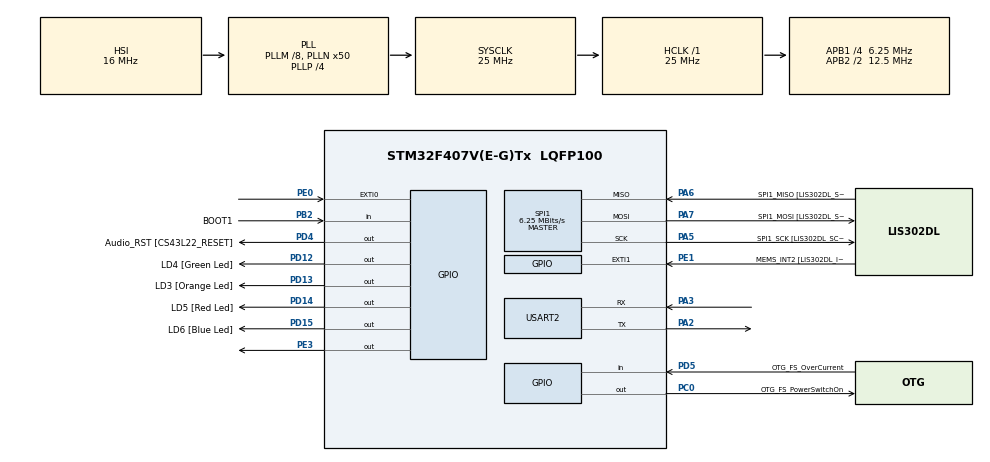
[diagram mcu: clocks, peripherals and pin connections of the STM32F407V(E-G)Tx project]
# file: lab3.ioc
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Mcu.Family=STM32F4
Mcu.Name=STM32F407V(E-G)Tx
Mcu.Package=LQFP100
NVIC.EXTI0_IRQn=true\:15\:0\:true\:false\:true\:true\:true\:true
NVIC.PriorityGroup=NVIC_PRIORITYGROUP_4
NVIC.TIM7_IRQn=true\:0\:0\:false\:false\:true\:false\:true\:true
NVIC.TimeBase=TIM7_IRQn
NVIC.TimeBaseIP=TIM7
PA10.GPIO_Label=OTG_FS_ID
PA10.GPIO_Mode=GPIO_MODE_AF_PP
PA10.GPIO_PuPd=GPIO_NOPULL
PA10.GPIO_Speed=GPIO_SPEED_FREQ_LOW
PA10.Signal=USB_OTG_FS_ID
PA11.GPIO_Label=OTG_FS_DM
PA11.GPIO_Mode=GPIO_MODE_AF_PP
PA11.GPIO_PuPd=GPIO_NOPULL
PA11.GPIO_Speed=GPIO_SPEED_FREQ_LOW
PA11.Signal=USB_OTG_FS_DM
PA12.GPIO_Label=OTG_FS_DP
PA12.GPIO_Mode=GPIO_MODE_AF_PP
PA12.GPIO_PuPd=GPIO_NOPULL
PA12.GPIO_Speed=GPIO_SPEED_FREQ_LOW
PA12.Signal=USB_OTG_FS_DP
PA13.GPIO_Label=SWDIO
PA13.Mode=Serial_Wire
PA13.Signal=SYS_JTMS-SWDIO
PA14.GPIO_Label=SWCLK
PA14.Mode=Serial_Wire
PA14.Signal=SYS_JTCK-SWCLK
PA2.Mode=Asynchronous
PA2.Signal=USART2_TX
PA3.Mode=Asynchronous
PA3.Signal=USART2_RX
PA4.GPIO_Label=I2S3_WS [CS43L22_LRCK]
PA4.GPIO_Mode=GPIO_MODE_AF_PP
PA4.GPIO_PuPd=GPIO_NOPULL
PA4.GPIO_Speed=GPIO_SPEED_FREQ_LOW
PA4.Signal=I2S3_WS
PA5.GPIO_Label=SPI1_SCK [LIS302DL_SCL/SPC]
PA5.GPIO_Mode=GPIO_MODE_AF_PP
PA5.GPIO_PuPd=GPIO_NOPULL
PA5.GPIO_Speed=GPIO_SPEED_FREQ_LOW
PA5.Mode=Full_Duplex_Master
PA5.Signal=SPI1_SCK
PA6.GPIO_Label=SPI1_MISO [LIS302DL_SDO]
PA6.GPIO_Mode=GPIO_MODE_AF_PP
PA6.GPIO_PuPd=GPIO_NOPULL
PA6.GPIO_Speed=GPIO_SPEED_FREQ_LOW
PA6.Mode=Full_Duplex_Master
PA6.Signal=SPI1_MISO
PA7.GPIO_Label=SPI1_MOSI [LIS302DL_SDA/SDI/SDO]
PA7.GPIO_Mode=GPIO_MODE_AF_PP
PA7.GPIO_PuPd=GPIO_NOPULL
PA7.GPIO_Speed=GPIO_SPEED_FREQ_LOW
PA7.Mode=Full_Duplex_Master
PA7.Signal=SPI1_MOSI
PA9.GPIO_Label=VBUS_FS
PA9.GPIO_Mode=GPIO_MODE_INPUT
PA9.GPIO_PuPd=GPIO_NOPULL
PA9.Signal=USB_OTG_FS_VBUS
PB10.GPIO_Label=CLK_IN [MP45DT02_CLK]
PB10.GPIO_Mode=GPIO_MODE_AF_PP
PB10.GPIO_PuPd=GPIO_NOPULL
PB10.GPIO_Speed=GPIO_SPEED_FREQ_LOW
PB10.Signal=I2S2_CK
PB2.GPIO_Label=BOOT1
PB2.GPIO_Mode=GPIO_MODE_INPUT
PB2.GPIO_PuPd=GPIO_NOPULL
PB2.Signal=GPIO_Input
PB3.GPIO_Label=SWO
PB3.Signal=SYS_JTDO-SWO
PB6.GPIO_Label=Audio_SCL [CS43L22_SCL]
PB6.GPIO_Mode=GPIO_MODE_AF_OD
PB6.GPIO_PuPd=GPIO_NOPULL
PB6.GPIO_Speed=GPIO_SPEED_FREQ_LOW
PB6.Signal=I2C1_SCL
PB9.GPIO_Label=Audio_SDA [CS43L22_SDA]
PB9.GPIO_Mode=GPIO_MODE_AF_OD
PB9.GPIO_PuPd=GPIO_NOPULL
PB9.GPIO_Speed=GPIO_SPEED_FREQ_LOW
PB9.Signal=I2C1_SDA
PC0.GPIO_Label=OTG_FS_PowerSwitchOn
PC0.GPIO_PuPd=GPIO_NOPULL
PC0.GPIO_Speed=GPIO_SPEED_FREQ_LOW
PC0.PinState=GPIO_PIN_SET
PC0.Signal=GPIO_Output
PC10.GPIO_Label=I2S3_SCK [CS43L22_SCLK]
PC10.GPIO_Mode=GPIO_MODE_AF_PP
PC10.GPIO_PuPd=GPIO_NOPULL
PC10.GPIO_Speed=GPIO_SPEED_FREQ_LOW
PC10.Signal=I2S3_CK
PC12.GPIO_Label=I2S3_SD [CS43L22_SDIN]
PC12.GPIO_Mode=GPIO_MODE_AF_PP
PC12.GPIO_PuPd=GPIO_NOPULL
PC12.GPIO_Speed=GPIO_SPEED_FREQ_LOW
PC12.Signal=I2S3_SD
PC14-OSC32_IN.GPIO_Label=PC14-OSC32_IN
PC14-OSC32_IN.Signal=RCC_OSC32_IN
PC15-OSC32_OUT.GPIO_Label=PC15-OSC32_OUT
PC15-OSC32_OUT.Signal=RCC_OSC32_OUT
PC3.GPIO_Label=PDM_OUT [MP45DT02_DOUT]
PC3.GPIO_Mode=GPIO_MODE_AF_PP
PC3.GPIO_PuPd=GPIO_NOPULL
PC3.GPIO_Speed=GPIO_SPEED_FREQ_LOW
PC3.Signal=I2S2_SD
PC7.GPIO_Label=I2S3_MCK [CS43L22_MCLK]
PC7.GPIO_Mode=GPIO_MODE_AF_PP
PC7.GPIO_PuPd=GPIO_NOPULL
PC7.GPIO_Speed=GPIO_SPEED_FREQ_LOW
PC7.Signal=I2S3_MCK
PD12.GPIO_Label=LD4 [Green Led]
PD12.GPIO_PuPd=GPIO_NOPULL
PD12.GPIO_Speed=GPIO_SPEED_FREQ_LOW
PD12.Signal=GPIO_Output
PD13.GPIO_Label=LD3 [Orange Led]
PD13.GPIO_PuPd=GPIO_NOPULL
PD13.GPIO_Speed=GPIO_SPEED_FREQ_LOW
PD13.Signal=GPIO_Output
PD14.GPIO_Label=LD5 [Red Led]
PD14.GPIO_PuPd=GPIO_NOPULL
PD14.GPIO_Speed=GPIO_SPEED_FREQ_LOW
PD14.Signal=GPIO_Output
PD15.GPIO_Label=LD6 [Blue Led]
PD15.GPIO_PuPd=GPIO_NOPULL
PD15.GPIO_Speed=GPIO_SPEED_FREQ_LOW
PD15.Signal=GPIO_Output
PD4.GPIO_Label=Audio_RST [CS43L22_RESET]
PD4.GPIO_PuPd=GPIO_NOPULL
PD4.GPIO_Speed=GPIO_SPEED_FREQ_LOW
PD4.Signal=GPIO_Output
PD5.GPIO_Label=OTG_FS_OverCurrent
PD5.GPIO_Mode=GPIO_MODE_INPUT
PD5.GPIO_PuPd=GPIO_NOPULL
PD5.Signal=GPIO_Input
PE0.Signal=GPXTI0
PE1.GPIO_Label=MEMS_INT2 [LIS302DL_INT2]
PE1.GPIO_ModeDefaultEXTI=GPIO_MODE_EVT_RISING
PE1.GPIO_PuPd=GPIO_NOPULL
PE1.Signal=GPXTI1
PE3.Signal=GPIO_Output
PH0-OSC_IN.GPIO_Label=PH0-OSC_IN
PH0-OSC_IN.Signal=RCC_OSC_IN
PH1-OSC_OUT.GPIO_Label=PH1-OSC_OUT
PH1-OSC_OUT.Signal=RCC_OSC_OUT
ProjectManager.HeapSize=0x200
ProjectManager.StackSize=0x400
ProjectManager.TargetToolchain=STM32CubeIDE
RCC.48MHZClocksFreq_Value=14285714.285714285
RCC.AHBFreq_Value=25000000
RCC.APB1CLKDivider=RCC_HCLK_DIV4
RCC.APB1Freq_Value=6250000
RCC.APB1TimFreq_Value=12500000
RCC.APB2CLKDivider=RCC_HCLK_DIV2
RCC.APB2Freq_Value=12500000
RCC.APB2TimFreq_Value=25000000
RCC.CortexFreq_Value=25000000
RCC.HCLKFreq_Value=25000000
RCC.HSE_VALUE=8000000
RCC.HSI_VALUE=16000000
RCC.LSE_VALUE=32768
RCC.PLLM=8
RCC.PLLN=50
RCC.PLLP=RCC_PLLP_DIV4
RCC.PLLQ=7
RCC.SYSCLKFreq_VALUE=25000000
RCC.SYSCLKSource=RCC_SYSCLKSOURCE_PLLCLK
RCC.VCOOutputFreq_Value=100000000
SPI1.CalculateBaudRate=6.25 MBits/s
SPI1.Direction=SPI_DIRECTION_2LINES
SPI1.Mode=SPI_MODE_MASTER
SPI1.VirtualType=VM_MASTER
USART2.VirtualMode=VM_ASYNC
VP_SYS_VS_tim7.Mode=TIM7
board=STM32F407G-DISC1

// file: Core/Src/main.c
/* USER CODE BEGIN Header */
/**
  ******************************************************************************
  * @file           : main.c
  * @brief          : Main program body
  ******************************************************************************
  * @attention
  *
  * <h2><center>&copy; Copyright (c) 2021 STMicroelectronics.
  * All rights reserved.</center></h2>
  *
  * This software component is licensed by ST under BSD 3-Clause license,
  * the "License"; You may not use this file except in compliance with the
  * License. You may obtain a copy of the License at:
  *                        opensource.org/licenses/BSD-3-Clause
  *
  ******************************************************************************
  */
/* USER CODE END Header */
#include "main.h"

/* USER CODE BEGIN Includes */
#include "FreeRTOS.h"
#include "task.h"
#include "semphr.h"

/* USER CODE END Includes */

/* USER CODE BEGIN PM */
#define LIS3DSH_WHO_AM_I_ADDR                0x0F
#define LIS3DSH_STAT_ADDR                    0x18
#define LIS3DSH_CTRL_REG4_ADDR               0x20
#define LIS3DSH_CTRL_REG1_ADDR               0x21
#define LIS3DSH_CTRL_REG2_ADDR               0x22
#define LIS3DSH_CTRL_REG3_ADDR               0x23
#define LIS3DSH_CTRL_REG5_ADDR               0x24
#define LIS3DSH_CTRL_REG6_ADDR               0x25

#define LIS3DSH_STATUS_ADDR                  0x27

#define LIS3DSH_OUT_X_L_ADDR                 0x28
#define LIS3DSH_OUT_X_H_ADDR                 0x29
#define LIS3DSH_OUT_Y_L_ADDR                 0x2A
#define LIS3DSH_OUT_Y_H_ADDR                 0x2B
#define LIS3DSH_OUT_Z_L_ADDR                 0x2C
#define LIS3DSH_OUT_Z_H_ADDR                 0x2D

#define LIS3DSH_ST1_1_ADDR                   0x40
#define LIS3DSH_ST1_2_ADDR                   0x41
#define LIS3DSH_THRS1_1_ADDR                 0x57
#define LIS3DSH_MASK1_B_ADDR                 0x59
#define LIS3DSH_MASK1_A_ADDR                 0x5A
#define LIS3DSH_SETT1_ADDR                   0x5B
#define LIS3DSH_OUTS1_ADDR                   0x5F

#define LONG_TIME 							 0xffff

#define WAKEUP_STATE_MACHINE_CONFIG	\
	MEMS_Write(0x21,0x01);			\
	MEMS_Write(0x23,0x48);			\
	MEMS_Write(0x20,0x67);			\
	MEMS_Write(0x24,0x00);			\
	MEMS_Write(0x57,0x55);			\
	MEMS_Write(0x40,0x05);			\
	MEMS_Write(0x41,0x11);			\

/* USER CODE END PM */

SPI_HandleTypeDef hspi1;

UART_HandleTypeDef huart2;

/* USER CODE BEGIN PV */
SemaphoreHandle_t xSemaphore = NULL;
uint8_t data;
/* USER CODE END PV */

void SystemClock_Config(void);
static void MX_GPIO_Init(void);
static void MX_SPI1_Init(void);
static void MX_USART2_UART_Init(void);

/* USER CODE BEGIN 0 */
void MEMS_Write(uint8_t address,uint8_t data){
	HAL_GPIO_WritePin(GPIOE, GPIO_PIN_3, GPIO_PIN_RESET);
	HAL_SPI_Transmit(&hspi1,&address,1,10);
	HAL_SPI_Transmit(&hspi1,&data,1,10);
	HAL_GPIO_WritePin(GPIOE, GPIO_PIN_3,GPIO_PIN_SET);
}
void MEMS_Read(uint8_t address,uint8_t *data){
    address |= 0x80;
	HAL_GPIO_WritePin(GPIOE,GPIO_PIN_3,GPIO_PIN_RESET);
	HAL_SPI_Transmit(&hspi1,&address,1,10);
	HAL_SPI_Receive(&hspi1,data,1,10);
	HAL_GPIO_WritePin(GPIOE,GPIO_PIN_3,GPIO_PIN_SET);
}
void Green_LED_Task(void *pvParameters)
{
	for(;;)
	{
		// Green LED blinks
		HAL_GPIO_TogglePin(GPIOD, GPIO_PIN_12);
		uint32_t beginTime = HAL_GetTick();
		while (HAL_GetTick() - beginTime < 500/portTICK_RATE_MS) {
		}
	}
}
void vHandlerTask( void *pvParameters )
{
	for(;;)
	{
		/* Take the semaphore */
		if(xSemaphoreTake(xSemaphore, LONG_TIME) == pdTRUE) {
			// semaphore was obtained
                // Orange LED blinks 5 times
				for (int i = 0; i < 10; ++i) {
					HAL_GPIO_TogglePin(GPIOD, GPIO_PIN_13);
					uint32_t beginTime = HAL_GetTick();
					while (HAL_GetTick() - beginTime < 500/portTICK_RATE_MS) {
					}
				}
			// reset interrupt register
			MEMS_Read(LIS3DSH_OUTS1_ADDR, &data);
//			WAKEUP_STATE_MACHINE_CONFIG
		}
	}
}
void HAL_GPIO_EXTI_Callback(uint16_t GPIO_Pin)
{
	/* toggle Red LED */
	HAL_GPIO_TogglePin(GPIOD, GPIO_PIN_14);

	/* Give the semaphore to unblock the handler task */
	BaseType_t xHigherPriorityTaskWoken = pdFALSE;
	xSemaphoreGiveFromISR( xSemaphore, &xHigherPriorityTaskWoken );
	portYIELD_FROM_ISR( xHigherPriorityTaskWoken );
}

/* USER CODE END 0 */

int main(void)
{

  /* MCU Configuration--------------------------------------------------------*/

  /* Reset of all peripherals, Initializes the Flash interface and the Systick. */
  HAL_Init();

  /* Configure the system clock */
  SystemClock_Config();

  /* Initialize all configured peripherals */
  MX_GPIO_Init();
  MX_SPI1_Init();
  MX_USART2_UART_Init();
  /* USER CODE BEGIN 2 */
  xSemaphore = xSemaphoreCreateBinary();
  WAKEUP_STATE_MACHINE_CONFIG

  xTaskCreate(Green_LED_Task, "Green LED", 1000, NULL, 1, NULL);
  xTaskCreate(vHandlerTask, "Handler Task", 1000, NULL, 4, NULL);

  vTaskStartScheduler();
  /* USER CODE END 2 */

  /* Infinite loop */
  while (1)
  {

  }
}

void SystemClock_Config(void)
{
  RCC_OscInitTypeDef RCC_OscInitStruct = {0};
  RCC_ClkInitTypeDef RCC_ClkInitStruct = {0};

  /** Configure the main internal regulator output voltage
  */
  __HAL_RCC_PWR_CLK_ENABLE();
  __HAL_PWR_VOLTAGESCALING_CONFIG(PWR_REGULATOR_VOLTAGE_SCALE1);

  /** Initializes the RCC Oscillators according to the specified parameters
  * in the RCC_OscInitTypeDef structure.
  */
  RCC_OscInitStruct.OscillatorType = RCC_OSCILLATORTYPE_HSI;
  RCC_OscInitStruct.HSIState = RCC_HSI_ON;
  RCC_OscInitStruct.HSICalibrationValue = RCC_HSICALIBRATION_DEFAULT;
  RCC_OscInitStruct.PLL.PLLState = RCC_PLL_ON;
  RCC_OscInitStruct.PLL.PLLSource = RCC_PLLSOURCE_HSI;
  RCC_OscInitStruct.PLL.PLLM = 8;
  RCC_OscInitStruct.PLL.PLLN = 50;
  RCC_OscInitStruct.PLL.PLLP = RCC_PLLP_DIV4;
  RCC_OscInitStruct.PLL.PLLQ = 7;
  if (HAL_RCC_OscConfig(&RCC_OscInitStruct) != HAL_OK)
  {
    Error_Handler();
  }

  /** Initializes the CPU, AHB and APB buses clocks
  */
  RCC_ClkInitStruct.ClockType = RCC_CLOCKTYPE_HCLK|RCC_CLOCKTYPE_SYSCLK
                              |RCC_CLOCKTYPE_PCLK1|RCC_CLOCKTYPE_PCLK2;
  RCC_ClkInitStruct.SYSCLKSource = RCC_SYSCLKSOURCE_PLLCLK;
  RCC_ClkInitStruct.AHBCLKDivider = RCC_SYSCLK_DIV1;
  RCC_ClkInitStruct.APB1CLKDivider = RCC_HCLK_DIV4;
  RCC_ClkInitStruct.APB2CLKDivider = RCC_HCLK_DIV2;

  if (HAL_RCC_ClockConfig(&RCC_ClkInitStruct, FLASH_LATENCY_0) != HAL_OK)
  {
    Error_Handler();
  }
}

static void MX_SPI1_Init(void)
{

  /* SPI1 parameter configuration*/
  hspi1.Instance = SPI1;
  hspi1.Init.Mode = SPI_MODE_MASTER;
  hspi1.Init.Direction = SPI_DIRECTION_2LINES;
  hspi1.Init.DataSize = SPI_DATASIZE_8BIT;
  hspi1.Init.CLKPolarity = SPI_POLARITY_LOW;
  hspi1.Init.CLKPhase = SPI_PHASE_1EDGE;
  hspi1.Init.NSS = SPI_NSS_SOFT;
  hspi1.Init.BaudRatePrescaler = SPI_BAUDRATEPRESCALER_2;
  hspi1.Init.FirstBit = SPI_FIRSTBIT_MSB;
  hspi1.Init.TIMode = SPI_TIMODE_DISABLE;
  hspi1.Init.CRCCalculation = SPI_CRCCALCULATION_DISABLE;
  hspi1.Init.CRCPolynomial = 10;
  if (HAL_SPI_Init(&hspi1) != HAL_OK)
  {
    Error_Handler();
  }

}

static void MX_USART2_UART_Init(void)
{

  huart2.Instance = USART2;
  huart2.Init.BaudRate = 115200;
  huart2.Init.WordLength = UART_WORDLENGTH_8B;
  huart2.Init.StopBits = UART_STOPBITS_1;
  huart2.Init.Parity = UART_PARITY_NONE;
  huart2.Init.Mode = UART_MODE_TX_RX;
  huart2.Init.HwFlowCtl = UART_HWCONTROL_NONE;
  huart2.Init.OverSampling = UART_OVERSAMPLING_16;
  if (HAL_UART_Init(&huart2) != HAL_OK)
  {
    Error_Handler();
  }

}

static void MX_GPIO_Init(void)
{
  GPIO_InitTypeDef GPIO_InitStruct = {0};

  /* GPIO Ports Clock Enable */
  __HAL_RCC_GPIOE_CLK_ENABLE();
  __HAL_RCC_GPIOC_CLK_ENABLE();
  __HAL_RCC_GPIOH_CLK_ENABLE();
  __HAL_RCC_GPIOA_CLK_ENABLE();
  __HAL_RCC_GPIOB_CLK_ENABLE();
  __HAL_RCC_GPIOD_CLK_ENABLE();

  /*Configure GPIO pin Output Level */
  HAL_GPIO_WritePin(GPIOE, GPIO_PIN_3, GPIO_PIN_RESET);

  /*Configure GPIO pin Output Level */
  HAL_GPIO_WritePin(OTG_FS_PowerSwitchOn_GPIO_Port, OTG_FS_PowerSwitchOn_Pin, GPIO_PIN_SET);

  /*Configure GPIO pin Output Level */
  HAL_GPIO_WritePin(GPIOD, LD4_Pin|LD3_Pin|LD5_Pin|LD6_Pin
                          |Audio_RST_Pin, GPIO_PIN_RESET);

  /*Configure GPIO pin : PE3 */
  GPIO_InitStruct.Pin = GPIO_PIN_3;
  GPIO_InitStruct.Mode = GPIO_MODE_OUTPUT_PP;
  GPIO_InitStruct.Pull = GPIO_NOPULL;
  GPIO_InitStruct.Speed = GPIO_SPEED_FREQ_LOW;
  HAL_GPIO_Init(GPIOE, &GPIO_InitStruct);

  /*Configure GPIO pin : OTG_FS_PowerSwitchOn_Pin */
  GPIO_InitStruct.Pin = OTG_FS_PowerSwitchOn_Pin;
  GPIO_InitStruct.Mode = GPIO_MODE_OUTPUT_PP;
  GPIO_InitStruct.Pull = GPIO_NOPULL;
  GPIO_InitStruct.Speed = GPIO_SPEED_FREQ_LOW;
  HAL_GPIO_Init(OTG_FS_PowerSwitchOn_GPIO_Port, &GPIO_InitStruct);

  /*Configure GPIO pin : PDM_OUT_Pin */
  GPIO_InitStruct.Pin = PDM_OUT_Pin;
  GPIO_InitStruct.Mode = GPIO_MODE_AF_PP;
  GPIO_InitStruct.Pull = GPIO_NOPULL;
  GPIO_InitStruct.Speed = GPIO_SPEED_FREQ_LOW;
  GPIO_InitStruct.Alternate = GPIO_AF5_SPI2;
  HAL_GPIO_Init(PDM_OUT_GPIO_Port, &GPIO_InitStruct);

  /*Configure GPIO pin : I2S3_WS_Pin */
  GPIO_InitStruct.Pin = I2S3_WS_Pin;
  GPIO_InitStruct.Mode = GPIO_MODE_AF_PP;
  GPIO_InitStruct.Pull = GPIO_NOPULL;
  GPIO_InitStruct.Speed = GPIO_SPEED_FREQ_LOW;
  GPIO_InitStruct.Alternate = GPIO_AF6_SPI3;
  HAL_GPIO_Init(I2S3_WS_GPIO_Port, &GPIO_InitStruct);

  /*Configure GPIO pin : BOOT1_Pin */
  GPIO_InitStruct.Pin = BOOT1_Pin;
  GPIO_InitStruct.Mode = GPIO_MODE_INPUT;
  GPIO_InitStruct.Pull = GPIO_NOPULL;
  HAL_GPIO_Init(BOOT1_GPIO_Port, &GPIO_InitStruct);

  /*Configure GPIO pin : CLK_IN_Pin */
  GPIO_InitStruct.Pin = CLK_IN_Pin;
  GPIO_InitStruct.Mode = GPIO_MODE_AF_PP;
  GPIO_InitStruct.Pull = GPIO_NOPULL;
  GPIO_InitStruct.Speed = GPIO_SPEED_FREQ_LOW;
  GPIO_InitStruct.Alternate = GPIO_AF5_SPI2;
  HAL_GPIO_Init(CLK_IN_GPIO_Port, &GPIO_InitStruct);

  /*Configure GPIO pins : LD4_Pin LD3_Pin LD5_Pin LD6_Pin
                           Audio_RST_Pin */
  GPIO_InitStruct.Pin = LD4_Pin|LD3_Pin|LD5_Pin|LD6_Pin
                          |Audio_RST_Pin;
  GPIO_InitStruct.Mode = GPIO_MODE_OUTPUT_PP;
  GPIO_InitStruct.Pull = GPIO_NOPULL;
  GPIO_InitStruct.Speed = GPIO_SPEED_FREQ_LOW;
  HAL_GPIO_Init(GPIOD, &GPIO_InitStruct);

  /*Configure GPIO pins : I2S3_MCK_Pin I2S3_SCK_Pin I2S3_SD_Pin */
  GPIO_InitStruct.Pin = I2S3_MCK_Pin|I2S3_SCK_Pin|I2S3_SD_Pin;
  GPIO_InitStruct.Mode = GPIO_MODE_AF_PP;
  GPIO_InitStruct.Pull = GPIO_NOPULL;
  GPIO_InitStruct.Speed = GPIO_SPEED_FREQ_LOW;
  GPIO_InitStruct.Alternate = GPIO_AF6_SPI3;
  HAL_GPIO_Init(GPIOC, &GPIO_InitStruct);

  /*Configure GPIO pin : VBUS_FS_Pin */
  GPIO_InitStruct.Pin = VBUS_FS_Pin;
  GPIO_InitStruct.Mode = GPIO_MODE_INPUT;
  GPIO_InitStruct.Pull = GPIO_NOPULL;
  HAL_GPIO_Init(VBUS_FS_GPIO_Port, &GPIO_InitStruct);

  /*Configure GPIO pins : OTG_FS_ID_Pin OTG_FS_DM_Pin OTG_FS_DP_Pin */
  GPIO_InitStruct.Pin = OTG_FS_ID_Pin|OTG_FS_DM_Pin|OTG_FS_DP_Pin;
  GPIO_InitStruct.Mode = GPIO_MODE_AF_PP;
  GPIO_InitStruct.Pull = GPIO_NOPULL;
  GPIO_InitStruct.Speed = GPIO_SPEED_FREQ_LOW;
  GPIO_InitStruct.Alternate = GPIO_AF10_OTG_FS;
  HAL_GPIO_Init(GPIOA, &GPIO_InitStruct);

  /*Configure GPIO pin : OTG_FS_OverCurrent_Pin */
  GPIO_InitStruct.Pin = OTG_FS_OverCurrent_Pin;
  GPIO_InitStruct.Mode = GPIO_MODE_INPUT;
  GPIO_InitStruct.Pull = GPIO_NOPULL;
  HAL_GPIO_Init(OTG_FS_OverCurrent_GPIO_Port, &GPIO_InitStruct);

  /*Configure GPIO pins : Audio_SCL_Pin Audio_SDA_Pin */
  GPIO_InitStruct.Pin = Audio_SCL_Pin|Audio_SDA_Pin;
  GPIO_InitStruct.Mode = GPIO_MODE_AF_OD;
  GPIO_InitStruct.Pull = GPIO_NOPULL;
  GPIO_InitStruct.Speed = GPIO_SPEED_FREQ_LOW;
  GPIO_InitStruct.Alternate = GPIO_AF4_I2C1;
  HAL_GPIO_Init(GPIOB, &GPIO_InitStruct);

  /*Configure GPIO pin : PE0 */
  GPIO_InitStruct.Pin = GPIO_PIN_0;
  GPIO_InitStruct.Mode = GPIO_MODE_IT_RISING;
  GPIO_InitStruct.Pull = GPIO_NOPULL;
  HAL_GPIO_Init(GPIOE, &GPIO_InitStruct);

  /*Configure GPIO pin : MEMS_INT2_Pin */
  GPIO_InitStruct.Pin = MEMS_INT2_Pin;
  GPIO_InitStruct.Mode = GPIO_MODE_EVT_RISING;
  GPIO_InitStruct.Pull = GPIO_NOPULL;
  HAL_GPIO_Init(MEMS_INT2_GPIO_Port, &GPIO_InitStruct);

  /* EXTI interrupt init*/
  HAL_NVIC_SetPriority(EXTI0_IRQn, 15, 0);
  HAL_NVIC_EnableIRQ(EXTI0_IRQn);

}

void HAL_TIM_PeriodElapsedCallback(TIM_HandleTypeDef *htim)
{
  if (htim->Instance == TIM7) {
    HAL_IncTick();
  }
}

void Error_Handler(void)
{
  __disable_irq();
  while (1)
  {
  }
}
